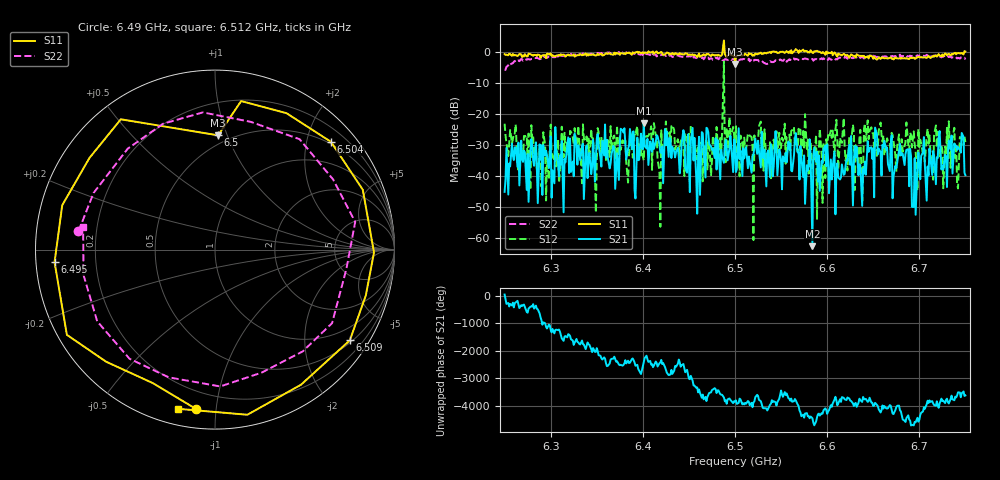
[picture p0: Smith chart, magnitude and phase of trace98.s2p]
# Hz S RI R 50
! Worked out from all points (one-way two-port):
!   401 points, 6.25 GHz to 6.75 GHz, reference 50 ohm
!   highest |S21| = -23.01 dB at 6.401 GHz (marker M1); lowest = -62.7 dB at 6.584 GHz (marker M2)
!   lowest |S11| = -3.9 dB at 6.5 GHz (marker M3), VSWR 4.51, Z = 21.7 + j46.4 ohm
!   |S11| at or under -10 dB: nowhere
!   |S22| runs from -5.8 to 0.0 dB; largest |S21 - S12| = 0.7
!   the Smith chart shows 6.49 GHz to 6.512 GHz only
!   S11 on the Smith chart (normalised r, x): 6.49 GHz: 0.10, -0.88; 6.495 GHz: 0.05, -0.04; 6.5 GHz: 0.43, +0.93; 6.504 GHz: 0.46, +2.47; 6.509 GHz: 0.57, -3.19; 6.512 GHz: 0.08, -0.79
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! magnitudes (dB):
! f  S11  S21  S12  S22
! 6.25 GHz  -0.7  -45.2  -23.2  -5.8
! 6.26 GHz  -1.1  -34.9  -26.3  -3.2
! 6.289 GHz  -1.9  -34.8  -33.8  -2.3
! 6.334 GHz  -1.1  -30.3  -42.4  -0.9
! 6.379 GHz  -0.4  -26.0  -29.6  -0.6
! 6.394 GHz  0.1  -27.7  -24.0  -0.5
! 6.401 GHz  -0.5  -23.0  -35.1  -1.3
! 6.418 GHz  -0.3  -29.9  -38.2  -0.9
! 6.431 GHz  -0.7  -34.3  -24.0  -1.2
! 6.46 GHz  -1.0  -33.8  -30.1  -1.7
! 6.471 GHz  -0.6  -26.0  -29.3  -1.8
! 6.49 GHz  -1.0  -28.4  -35.6  -2.3
! 6.495 GHz  -0.9  -27.0  -26.5  -2.3
! 6.5 GHz  -3.9  -28.7  -31.7  -2.0
! 6.504 GHz  -1.1  -24.6  -29.7  -2.5
! 6.509 GHz  -0.9  -31.1  -31.7  -2.2
! 6.512 GHz  -0.8  -30.8  -31.6  -2.6
! 6.584 GHz  -0.3  -62.7  -37.6  -2.3
! 6.668 GHz  -1.9  -38.5  -29.3  -1.5
! 6.695 GHz  -2.2  -34.3  -30.2  -1.4
! 6.702 GHz  -1.7  -33.6  -29.5  -1.2
! 6.75 GHz  0.1  -39.8  -29.1  -2.4
